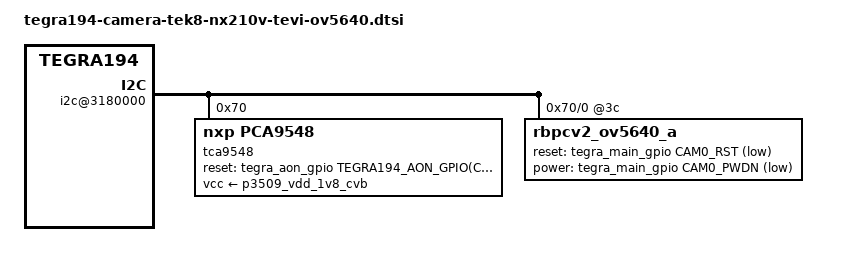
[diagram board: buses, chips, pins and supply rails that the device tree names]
/*
 * Copyright (c) 2021, NVIDIA CORPORATION.  All rights reserved.
 *
 * This program is free software; you can redistribute it and/or modify
 * it under the terms of the GNU General Public License as published by
 * the Free Software Foundation; either version 2 of the License, or
 * (at your option) any later version.
 *
 * This program is distributed in the hope that it will be useful, but WITHOUT
 * ANY WARRANTY; without even the implied warranty of MERCHANTABILITY or
 * FITNESS FOR A PARTICULAR PURPOSE.  See the GNU General Public License for
 * more details.
 *
 * You should have received a copy of the GNU General Public License
 * along with this program.  If not, see <http://www.gnu.org/licenses/>.
 */

#include "tegra194-camera-tek8-tevi-ov5640.dtsi"

//CSI0_RST  -> SOC_GPIO04 (CAM0_PWDN pin on EVK)
//CSI0_PWDN -> GPIO11
#define CAM0_RST	TEGRA194_MAIN_GPIO(P, 4)
#define CAM0_PWDN	TEGRA194_MAIN_GPIO(Q, 6)
//#define CAM0_PWDN	TEGRA194_MAIN_GPIO(P, 4)
//#define CAM1_PWDN	TEGRA194_MAIN_GPIO(P, 5)
//#define CAM_I2C_MUX 	TEGRA194_AON_GPIO(CC, 3)
//#define CAM0_RST	TEGRA194_MAIN_GPIO(P, 0)
#define CAM1_RST	TEGRA194_MAIN_GPIO(P, 1)

//#define CAM0_PWDN	TEGRA194_MAIN_GPIO(P, 4)
#define CAM1_PWDN	TEGRA194_MAIN_GPIO(P, 5)
#define CAMERA_I2C_MUX_BUS(x) (0x1E + x)

/ {
	i2c@3180000 { /* cam_i2c */
		tca9548@70 {
			compatible = "nxp,pca9548";
			reg = <0x70>;
			#address-cells = <1>;
			#size-cells = <0>;
			reset-gpios = <&tegra_aon_gpio TEGRA194_AON_GPIO(CC, 3) GPIO_ACTIVE_LOW>;
			skip_mux_detect = "yes";
			vcc-supply = <&p3509_vdd_1v8_cvb>;
			vcc_lp = "vcc";
			force_bus_start = <CAMERA_I2C_MUX_BUS(0)>;

			i2c@0 {
				reg = <0>;
				i2c-mux,deselect-on-exit;
				#address-cells = <1>;
				#size-cells = <0>;
				rbpcv2_ov5640_a@3c {
					reset-gpios = <&tegra_main_gpio CAM0_RST GPIO_ACTIVE_LOW>;
					power-gpios = <&tegra_main_gpio CAM0_PWDN GPIO_ACTIVE_LOW>;
				};
			};
		};
	};
/*
	gpio@2200000 {
		camera-control-output-low {
			gpio-hog;
			output-low;
			gpios = <CAM0_PWDN 0 CAM1_PWDN 0>;
			label = "cam0-pwdn","cam1-pwdn";
		};
	};
*/
};
